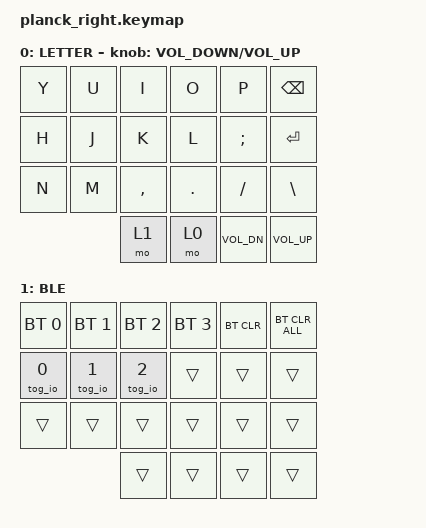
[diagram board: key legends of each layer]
#include <behaviors.dtsi>
#include <dt-bindings/zmk/bt.h>
#include <dt-bindings/zmk/keys.h>

#include <behaviors/toggle_io.dtsi> // &tog_io 翻转 LED
#include <behaviors/on_io.dtsi>     // &on_io  点亮 LED
#include <behaviors/off_io.dtsi>    // &off_io 熄灭 LED

/ {
    keymap {
        compatible = "zmk,keymap";

        LETTER {
            // 底排第一个键（&mo 1）：按住进入 BLE 管理层
            bindings = <
&kp Y  &kp U  &kp I      &kp O    &kp P     &kp BACKSPACE
&kp H  &kp J  &kp K      &kp L    &kp SEMI  &kp RETURN
&kp N  &kp M  &kp COMMA  &kp DOT  &kp FSLH  &kp BACKSLASH
              &mo 1  &mo 0  &kp C_VOL_DN  &kp C_VOLUME_UP
            >;

            sensor-bindings = <&inc_dec_kp C_VOLUME_DOWN C_VOLUME_UP>;

            label = "LETTER";
        };

        BLE {
            bindings = <
&bt BT_SEL 0  &bt BT_SEL 1  &bt BT_SEL 2  &bt BT_SEL 3  &bt BT_CLR  &bt BT_CLR_ALL
&tog_io 0     &tog_io 1     &tog_io 2     &trans        &trans      &trans
&trans        &trans        &trans        &trans        &trans      &trans
                            &trans        &trans        &trans      &trans
            >;

            label = "BLE";
        };
    };
};
